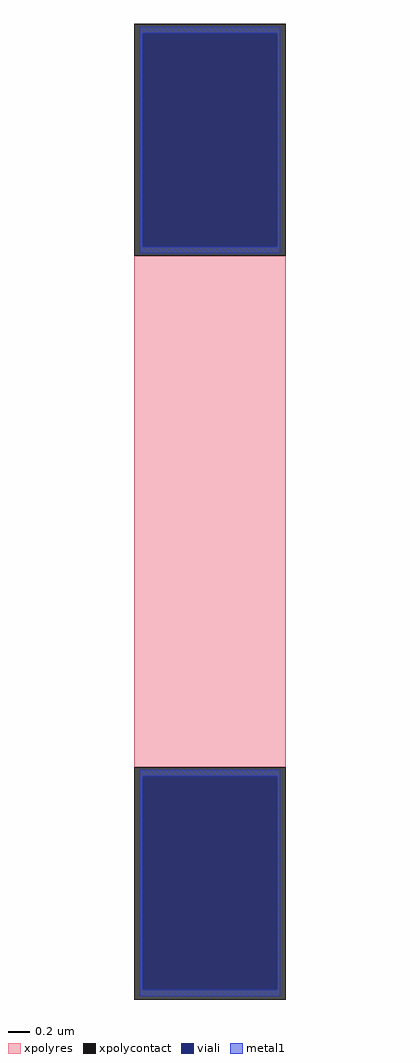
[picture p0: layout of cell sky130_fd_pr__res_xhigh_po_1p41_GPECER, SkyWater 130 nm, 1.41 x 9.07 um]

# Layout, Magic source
magic
tech sky130A
magscale 1 2
<< xpolycontact >>
rect -141 475 141 907
rect -141 -907 141 -475
<< xpolyres >>
rect -141 -475 141 475
<< viali >>
rect -125 492 125 889
rect -125 -889 125 -492
<< metal1 >>
rect -131 889 131 901
rect -131 492 -125 889
rect 125 492 131 889
rect -131 480 131 492
rect -131 -492 131 -480
rect -131 -889 -125 -492
rect 125 -889 131 -492
rect -131 -901 131 -889
<< properties >>
string gencell sky130_fd_pr__res_xhigh_po_1p41
string library sky130
string parameters w 1.410 l 4.91 m 1 nx 1 wmin 1.410 lmin 0.50 rho 2000 val 7.231k dummy 0 dw 0.0 term 188.2 sterm 0.0 caplen 0 wmax 1.410 guard 0 glc 1 grc 1 gtc 1 gbc 1 compatible {sky130_fd_pr__res_xhigh_po_0p35  sky130_fd_pr__res_xhigh_po_0p69 sky130_fd_pr__res_xhigh_po_1p41  sky130_fd_pr__res_xhigh_po_2p85 sky130_fd_pr__res_xhigh_po_5p73} snake 0 full_metal 1 n_guard 0 hv_guard 0 vias 1 viagb 0 viagt 0 viagl 0 viagr 0
<< end >>
